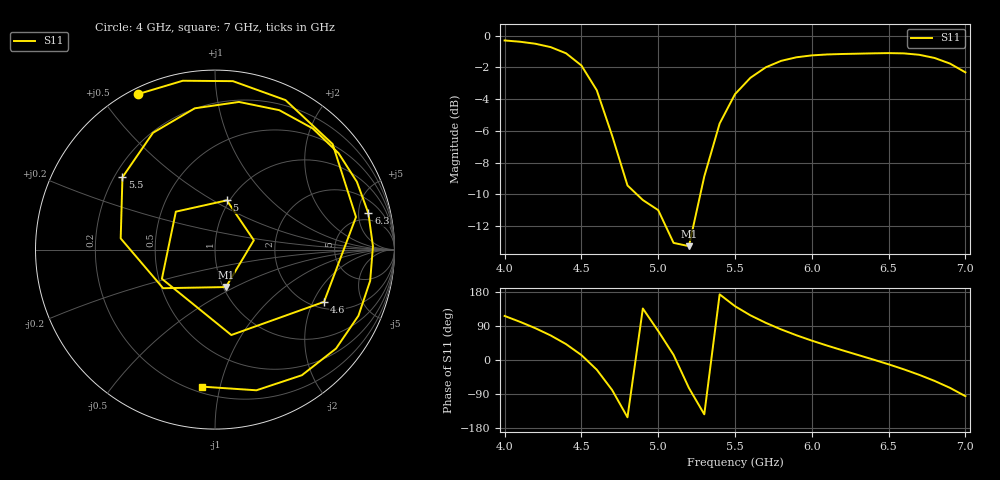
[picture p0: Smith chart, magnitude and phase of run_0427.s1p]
! Touchstone file exported from HFSS 2024.2.0
!  File:  C:/Users/wsak9/Desktop/Sim Fast/Widenad Patch/WP_AI_V1_sweep.aedt
!  Generated:  09:31:22 AM Oct 14, 2026
!  Design:  A1_model
!  Project:  WP_AI_V1_sweep
!  Setup:  Setup1
!  Solution:  Sweep
! Variables:
!  Air_gap = 2.95mm
!  Curve_Amp1 = 2.65
!  Curve_len1 = 1
!  Curve_pos = 11.295mm
!  Extra = 3.15mm
!  H_sub = 0.79mm
!  L_Patch = 18.59mm
!  L_Patch1 = 12.84mm
!  Sx = 1.23mm
!  Sy = 0.91mm
!  WS = 0.69mm
!  W_Patch = 16.37mm
!  W_Patch1 = 9.69mm
!Data is not renormalized
# GHz S MA
! Terminal data exported
! Port[1] = 1
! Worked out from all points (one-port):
!   31 points, 4 GHz to 7 GHz, reference per port
!   lowest |S11| = -13.3 dB at 5.2 GHz (marker M1), VSWR 1.56
!   |S11| at or under -10 dB: 4.862 GHz to 5.274 GHz (412.5 MHz wide, 8.14 % of centre)
!   S11 on the Smith chart (normalised r, x): 4 GHz: 0.02, +0.62; 4.6 GHz: 2.29, -2.44; 5 GHz: 0.97, +0.58; 5.5 GHz: 0.23, +0.33; 6.3 GHz: 3.67, +6.50; 7 GHz: 0.24, -0.88
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4  0.9665 116.2
4.1  0.9577 100.8
4.2  0.9438 83.9
4.3  0.9209 64.8
4.4  0.8805 41.9
4.5  0.8063 13.0
4.6  0.6736 -25.6
4.7  0.4845 -79.2
4.8  0.3376 -151.2
4.9  0.3037 135.9
5  0.2823 76.5
5.1  0.2225 13.5
5.2  0.2173 -73.8
5.3  0.3604 -143.4
5.4  0.5291 173.2
5.5  0.6545 142.0
5.6  0.7369 117.9
5.7  0.7952 98.2
5.8  0.8335 80.8
5.9  0.8554 65.2
6.1  0.8732 38.0
6.3  0.8781 13.4
6.5  0.8818 -11.4
6.6  0.88 -24.8
6.7  0.871 -39.3
6.8  0.851 -55.3
6.9  0.8171 -73.6
7  0.7669 -95.5
